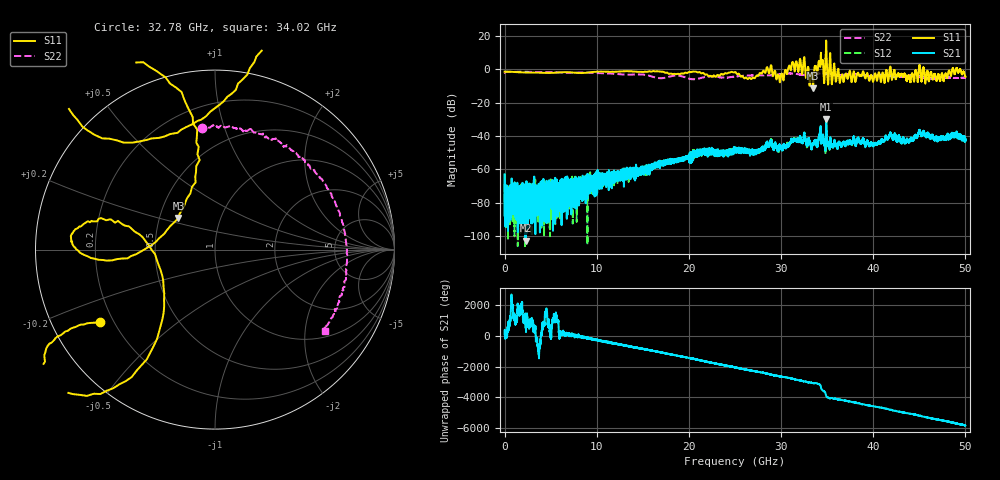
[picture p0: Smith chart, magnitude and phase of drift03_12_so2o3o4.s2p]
!Created with skrf (http://scikit-rf.org).
# Hz S RI R 50.0
!freq ReS11 ImS11 ReS21 ImS21 ReS12 ImS12 ReS22 ImS22
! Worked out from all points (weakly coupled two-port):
!   10001 points, 300 kHz to 50 GHz, reference 50 ohm
!   highest |S21| = -29.75 dB at 34.9 GHz (marker M1); lowest = -103.0 dB at 2.27 GHz (marker M2)
!   lowest |S11| = -11.4 dB at 33.47 GHz (marker M3), VSWR 1.74, Z = 31.4 + j11.9 ohm
!   |S11| at or under -10 dB: 33.44527 GHz to 33.48742 GHz (42.15 MHz wide, 0.126 % of centre)
!   |S22| runs from -5.9 to -1.3 dB; largest |S21 - S12| = 0.0066
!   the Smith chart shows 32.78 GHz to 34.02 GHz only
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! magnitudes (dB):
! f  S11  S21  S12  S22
! 300 kHz  -1.3  -63.1  -62.8  -2.1
! 255.3 MHz  -1.3  -75.4  -86.2  -1.4
! 2.27 GHz  -1.8  -103.0  -72.7  -1.3
! 8.335 GHz  -2.2  -67.3  -76.5  -1.9
! 16.67 GHz  -1.1  -55.2  -57.0  -5.2
! 25 GHz  -1.5  -48.2  -48.7  -4.3
! 26.92 GHz  -4.9  -50.4  -49.6  -3.6
! 28.73 GHz  -2.3  -45.8  -45.0  -3.5
! 30.06 GHz  -2.5  -47.6  -47.4  -2.8
! 31.88 GHz  -1.6  -42.2  -42.1  -2.9
! 33.34 GHz  -2.2  -47.5  -46.9  -2.9
! 33.47 GHz  -11.4  -45.2  -44.7  -2.8
! 34.3 GHz  7.4  -34.1  -35.3  -2.3
! 34.9 GHz  17.0  -29.8  -31.3  -2.3
! 36.58 GHz  -3.4  -46.1  -45.8  -3.5
! 40.2 GHz  -2.3  -44.2  -44.4  -3.7
! 41.67 GHz  -5.7  -41.3  -40.8  -3.7
! 43.66 GHz  -6.4  -42.7  -42.7  -4.0
! 45.19 GHz  -4.8  -39.4  -39.1  -4.6
! 47.07 GHz  -3.1  -42.1  -42.3  -5.1
! 49.22 GHz  -2.0  -40.6  -40.1  -5.1
! 50 GHz  -4.4  -42.1  -42.6  -5.0
